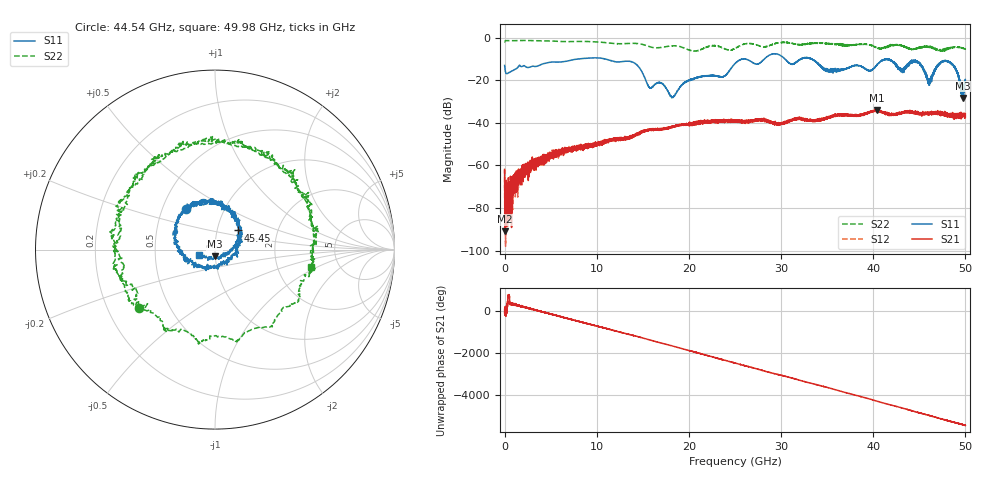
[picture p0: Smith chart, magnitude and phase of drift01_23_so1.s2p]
!Created with skrf (http://scikit-rf.org).
# Hz S RI R 50.0
!freq ReS11 ImS11 ReS21 ImS21 ReS12 ImS12 ReS22 ImS22
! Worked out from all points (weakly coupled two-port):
!   10001 points, 300 kHz to 50 GHz, reference 50 ohm
!   highest |S21| = -34.00 dB at 40.4 GHz (marker M1); lowest = -90.9 dB at 60.3 MHz (marker M2)
!   lowest |S11| = -28.4 dB at 49.72 GHz (marker M3), VSWR 1.08, Z = 49.6 - j3.78 ohm
!   |S11| at or under -10 dB: start of sweep to 8.066 GHz; 10.89 GHz to 25.98 GHz (15.09 GHz wide, 81.9 % of centre); 33.27 GHz to end of sweep (the widest 3 of 12)
!   |S22| runs from -6.4 to -1.4 dB; largest |S21 - S12| = 0.0038
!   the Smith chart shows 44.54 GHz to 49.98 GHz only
!   S11 on the Smith chart (normalised r, x): 44.54 GHz: 0.66, +0.33; 45.45 GHz: 1.26, +0.28; 49.98 GHz: 0.84, -0.05
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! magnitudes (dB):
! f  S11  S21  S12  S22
! 300 kHz  -13.1  -62.2  -61.5  -2.1
! 60.3 MHz  -15.3  -90.9  -68.9  -1.6
! 300.3 MHz  -16.8  -71.5  -76.2  -1.4
! 2.435 GHz  -14.0  -59.8  -63.0  -1.4
! 8.335 GHz  -9.9  -50.8  -51.5  -1.8
! 13.78 GHz  -11.4  -46.5  -46.9  -2.7
! 15.73 GHz  -23.5  -43.2  -43.4  -4.2
! 16.67 GHz  -21.1  -43.4  -43.0  -4.8
! 18.25 GHz  -27.8  -42.0  -42.0  -3.9
! 25 GHz  -12.2  -39.4  -39.3  -5.1
! 33.34 GHz  -10.1  -39.4  -38.9  -2.7
! 35.25 GHz  -15.1  -37.1  -37.4  -2.9
! 40.4 GHz  -12.8  -34.0  -34.5  -4.8
! 41.67 GHz  -10.4  -35.9  -36.1  -4.2
! 43.07 GHz  -15.5  -35.3  -35.3  -3.6
! 44.54 GHz  -11.1  -34.8  -35.1  -5.5
! 45.45 GHz  -15.6  -35.8  -35.7  -4.2
! 46.12 GHz  -20.5  -35.3  -35.3  -4.3
! 48.16 GHz  -11.3  -36.6  -36.5  -5.4
! 49.72 GHz  -28.4  -36.3  -36.3  -5.1
! 49.98 GHz  -20.6  -35.9  -36.7  -5.3
! 50 GHz  -20.9  -37.2  -35.7  -5.4
